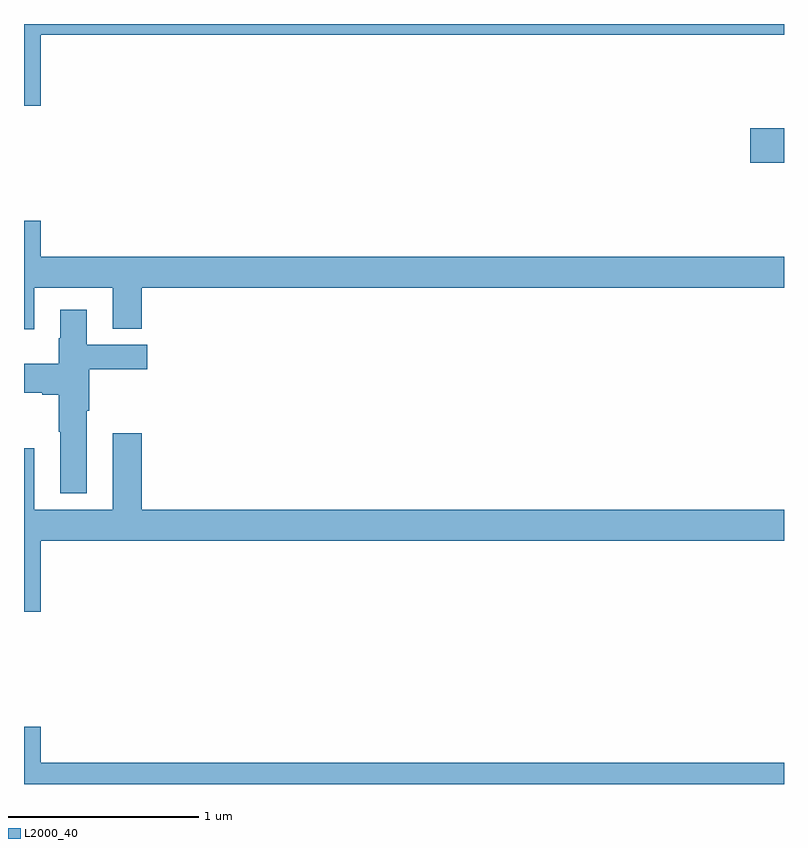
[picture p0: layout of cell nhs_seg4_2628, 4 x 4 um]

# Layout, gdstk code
import gdstk
lib = gdstk.Library(unit=1e-6, precision=1e-09)
def R(c, l, rs):  # rectangles x0, y0, x1, y1
    for r in rs: c.add(gdstk.rectangle(r[:2], r[2:], *l))
def P(c, l, *ps):  # polygons
    for p in ps: c.add(gdstk.Polygon(p, *l))
L2000_40 = (2000, 40)

nhs_seg4_2628 = lib.new_cell('nhs_seg4_2628')
R(nhs_seg4_2628, L2000_40, [(252.822,772.169,253,772.352)])
P(nhs_seg4_2628, L2000_40, [(249.088,772.844),(253,772.844),(253,772.9),(249,772.9),(249,772.47),(249.088,772.47)],
  [(249.055,771.512),(249.467,771.512),(249.467,771.296),(249.62,771.296),(249.62,771.512),(253,771.512),(253,771.676),(249.088,771.676),(249.088,771.865),(249,771.865),(249,771.294),(249.055,771.294)],
  [(249.331,770.864),(249.344,770.864),(249.344,771.082),(249.649,771.082),(249.649,771.211),(249.331,771.211),(249.331,771.397),(249.191,771.397),(249.191,771.246),(249.184,771.246),(249.184,771.112),(249,771.112),(249,770.96),(249.095,770.96),(249.095,770.948),(249.184,770.948),(249.184,770.755),(249.191,770.755),(249.191,770.429),(249.331,770.429)],
  [(249.088,770.18),(253,770.18),(253,770.344),(249.62,770.344),(249.62,770.746),(249.467,770.746),(249.467,770.344),(249.055,770.344),(249.055,770.668),(249,770.668),(249,769.806),(249.088,769.806)],
  [(253,769.012),(249.088,769.012),(249.088,769.201),(249,769.201),(249,768.9),(253,768.9)])

lib.write_gds('nhs_seg4_2628.gds')
